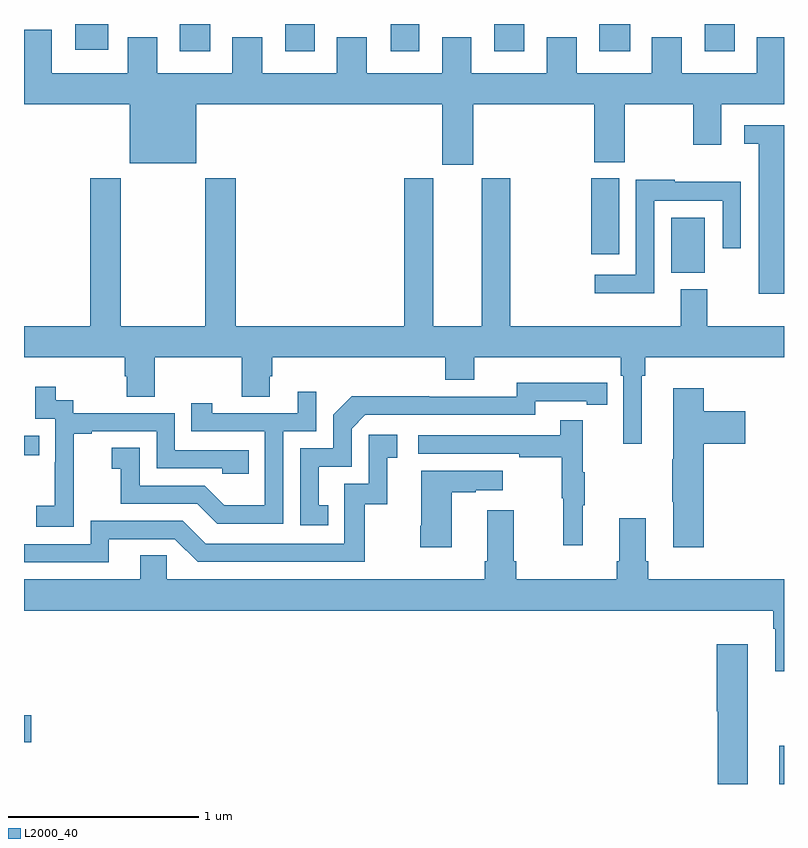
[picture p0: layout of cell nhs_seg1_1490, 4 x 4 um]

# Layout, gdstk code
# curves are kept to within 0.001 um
import gdstk
lib = gdstk.Library(unit=1e-6, precision=1e-09)
def R(c, l, rs):  # rectangles x0, y0, x1, y1
    for r in rs: c.add(gdstk.rectangle(r[:2], r[2:], *l))
def P(c, l, *ps):  # polygons
    for p in ps: c.add(gdstk.Polygon(p, *l))
L2000_40 = (2000, 40)

nhs_seg1_1490 = lib.new_cell('nhs_seg1_1490')
R(nhs_seg1_1490, L2000_40, [(196.976,504.199,197,504.4), (193,504.418,193.039,504.56), (193,505.93,193.079,506.031), (196.406,506.891,196.582,507.178), (195.985,506.988,196.132,507.387), (193.82,508.056,193.981,508.199), (194.375,508.056,194.53,508.199), (194.93,508.056,195.079,508.199), (195.476,508.056,195.634,508.199), (196.028,508.056,196.192,508.199), (196.583,508.056,196.741,508.199), (193.271,508.064,193.444,508.199)])
P(nhs_seg1_1490, L2000_40, [(195.364,507.776),(196.001,507.776),(196.001,507.472),(196.161,507.472),(196.161,507.776),(196.522,507.776),(196.522,507.564),(196.669,507.564),(196.669,507.776),(197,507.776),(197,508.129),(196.856,508.129),(196.856,507.94),(196.462,507.94),(196.462,508.129),(196.304,508.129),(196.304,507.94),(195.91,507.94),(195.91,508.129),(195.752,508.129),(195.752,507.94),(195.355,507.94),(195.355,508.129),(195.2,508.129),(195.2,507.94),(194.803,507.94),(194.803,508.129),(194.645,508.129),(194.645,507.94),(194.254,507.94),(194.254,508.129),(194.096,508.129),(194.096,507.94),(193.702,507.94),(193.702,508.129),(193.547,508.129),(193.547,507.94),(193.147,507.94),(193.147,508.168),(193,508.168),(193,507.776),(193.556,507.776),(193.556,507.467),(193.906,507.467),(193.906,507.776),(195.2,507.776),(195.2,507.459),(195.364,507.459)],
  [(197,507.666),(196.791,507.666),(196.791,507.569),(196.868,507.569),(196.868,506.78),(197,506.78)],
  [(196.252,506.348),(196.271,506.348),(196.271,506.444),(197,506.444),(197,506.608),(196.597,506.608),(196.597,506.803),(196.457,506.803),(196.457,506.608),(195.558,506.608),(195.558,507.387),(195.41,507.387),(195.41,506.608),(195.154,506.608),(195.154,507.387),(195.002,507.387),(195.002,506.608),(194.114,506.608),(194.114,507.388),(193.954,507.388),(193.954,506.608),(193.509,506.608),(193.509,507.388),(193.349,507.388),(193.349,506.608),(193,506.608),(193,506.444),(193.529,506.444),(193.529,506.346),(193.541,506.346),(193.541,506.236),(193.689,506.236),(193.689,506.444),(194.146,506.444),(194.146,506.236),(194.293,506.236),(194.293,506.346),(194.306,506.346),(194.306,506.444),(195.218,506.444),(195.218,506.327),(195.37,506.327),(195.37,506.444),(196.142,506.444),(196.142,506.348),(196.155,506.348),(196.155,505.989),(196.252,505.989)],
  [(196.317,507.269),(196.677,507.269),(196.677,507.018),(196.773,507.018),(196.773,507.37),(196.424,507.37),(196.424,507.38),(196.221,507.38),(196.221,506.88),(196.005,506.88),(196.005,506.783),(196.317,506.783)],
  [(194.6,505.665),(194.551,505.665),(194.551,505.869),(194.724,505.869),(194.724,506.07),(194.796,506.142),(195.69,506.142),(195.69,506.214),(195.962,506.214),(195.962,506.194),(196.07,506.194),(196.07,506.31),(195.594,506.311),(195.594,506.238),(195.134,506.238),(195.134,506.24),(194.726,506.24),(194.628,506.142),(194.628,505.965),(194.454,505.965),(194.454,505.56),(194.6,505.56)],
  [(193.263,505.759),(193.262,505.759),(193.262,506.043),(193.357,506.043),(193.357,506.055),(193.698,506.055),(193.698,505.86),(194.043,505.86),(194.043,505.833),(194.183,505.833),(194.183,505.956),(193.794,505.956),(193.794,506.151),(193.26,506.151),(193.26,506.22),(193.168,506.22),(193.168,506.29),(193.059,506.29),(193.059,506.121),(193.164,506.121),(193.164,505.892),(193.163,505.892),(193.163,505.663),(193.065,505.663),(193.065,505.553),(193.263,505.553)],
  [(196.577,505.991),(196.795,505.991),(196.795,506.161),(196.577,506.161),(196.577,506.281),(196.418,506.281),(196.418,505.907),(196.411,505.907),(196.411,505.684),(196.418,505.684),(196.418,505.446),(196.577,505.446)],
  [(194.364,506.055),(194.538,506.055),(194.538,506.263),(194.441,506.263),(194.441,506.151),(193.99,506.151),(193.99,506.203),(193.879,506.203),(193.879,506.055),(194.268,506.055),(194.268,505.666),(194.054,505.666),(193.95,505.77),(193.608,505.77),(193.608,505.969),(193.461,505.969),(193.461,505.859),(193.51,505.859),(193.51,505.674),(193.913,505.674),(194.018,505.569),(194.364,505.569)],
  [(195.941,505.667),(195.952,505.667),(195.952,505.841),(195.941,505.841),(195.941,506.113),(195.823,506.113),(195.823,506.034),(195.075,506.034),(195.075,505.938),(195.607,505.938),(195.607,505.918),(195.831,505.918),(195.831,505.704),(195.838,505.704),(195.838,505.455),(195.941,505.455)],
  [(193.447,505.488),(193.794,505.488),(193.914,505.368),(194.794,505.368),(194.794,505.671),(194.912,505.671),(194.912,505.917),(194.965,505.917),(194.965,506.038),(194.814,506.038),(194.814,505.779),(194.685,505.779),(194.685,505.464),(193.956,505.464),(193.836,505.584),(193.35,505.584),(193.35,505.461),(193,505.461),(193,505.365),(193.447,505.365)],
  [(195.25,505.735),(195.377,505.735),(195.377,505.745),(195.52,505.745),(195.52,505.849),(195.092,505.849),(195.092,505.558),(195.085,505.558),(195.085,505.446),(195.25,505.446)],
  [(197,505.276),(196.286,505.276),(196.286,505.372),(196.273,505.372),(196.273,505.597),(196.133,505.597),(196.133,505.372),(196.121,505.372),(196.121,505.276),(195.59,505.276),(195.59,505.372),(195.577,505.372),(195.577,505.639),(195.437,505.639),(195.437,505.372),(195.425,505.372),(195.425,505.276),(193.752,505.276),(193.752,505.403),(193.613,505.403),(193.613,505.276),(193,505.276),(193,505.112),(196.943,505.112),(196.943,505.016),(196.955,505.016),(196.955,504.792),(197,504.792)],
  [(196.81,504.934),(196.646,504.934),(196.646,504.582),(196.652,504.582),(196.652,504.199),(196.81,504.199)])

lib.write_gds('nhs_seg1_1490.gds')
